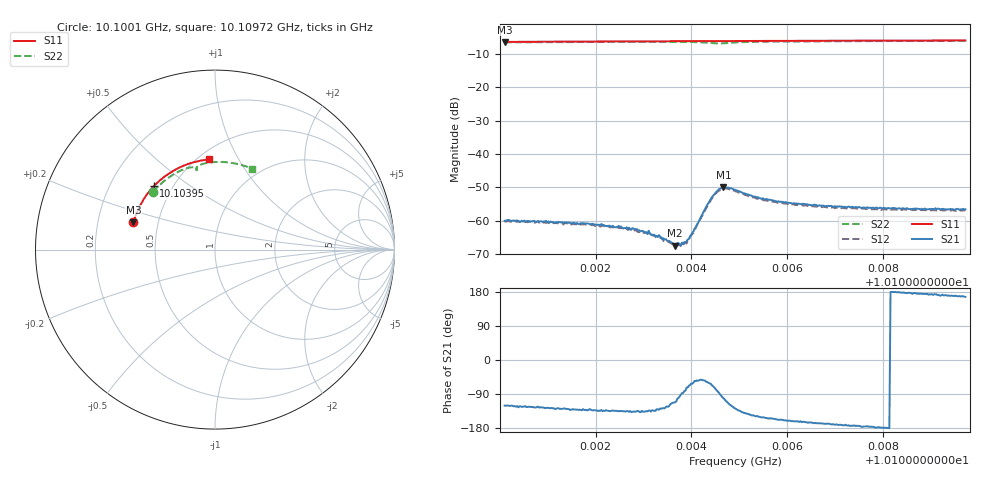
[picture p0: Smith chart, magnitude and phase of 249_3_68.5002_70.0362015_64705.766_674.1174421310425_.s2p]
#  HZ  S  RI  R  50.00
! Rohde & Schwarz Vector Network Analyzer
! Rohde-Schwarz,ZNB20-2Port,1311601062101988,3.16
! Created: UTC 3/20/2024, 4:59:47 PM
! freq[Hz]  re:S11  im:S11  re:S21  im:S21  re:S12  im:S12  re:S22  im:S22
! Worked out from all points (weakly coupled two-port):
!   401 points, 10.1001 GHz to 10.10972 GHz, reference 50 ohm
!   highest |S21| = -50.04 dB at 10.10467 GHz (marker M1); lowest = -67.5 dB at 10.10366 GHz (marker M2)
!   lowest |S11| = -6.4 dB at 10.1001 GHz (marker M3), VSWR 2.84, Z = 18 + j7.09 ohm
!   |S11| at or under -10 dB: nowhere
!   |S22| runs from -6.9 to -6.1 dB; largest |S21 - S12| = 0.00031
!   S11 on the Smith chart (normalised r, x): 10.1001 GHz: 0.36, +0.14; 10.10395 GHz: 0.39, +0.37; 10.10972 GHz: 0.57, +0.76
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1.0100098e10  -0.4542 0.1515  -0.000503 -0.000855  -0.000417 -0.000871  -0.3458 0.3206
1.010171e10  -0.4188 0.2428  -0.000616 -0.00067  -0.000535 -0.000698  -0.2702 0.3923
1.0102431e10  -0.397 0.2811  -0.000551 -0.000571  -0.000531 -0.0006  -0.2313 0.4188
1.0102816e10  -0.384 0.3005  -0.000539 -0.000517  -0.000474 -0.000529  -0.2092 0.4312
1.0103056e10  -0.3754 0.3123  -0.000472 -0.000475  -0.000418 -0.000506  -0.1946 0.4384
1.0103321e10  -0.3656 0.325  -0.000401 -0.000456  -0.000334 -0.000447  -0.1782 0.4456
1.0103658e10  -0.3524 0.3406  -0.000154 -0.00039  -8.6e-05 -0.000416  -0.1556 0.4537
1.0103802e10  -0.3465 0.3472  2.1e-05 -0.000467  5.17e-05 -0.00041  -0.1455 0.4562
1.010385e10  -0.3446 0.3493  6.64e-05 -0.000473  0.000104 -0.000436  -0.142 0.4571
1.0103946e10  -0.3405 0.3535  0.000202 -0.000492  0.000245 -0.000464  -0.1348 0.4582
1.0104091e10  -0.3345 0.3597  0.000447 -0.000663  0.000474 -0.000614  -0.1234 0.4587
1.0104307e10  -0.3251 0.3689  0.000867 -0.00136  0.000957 -0.00119  -0.1068 0.4542
1.0104427e10  -0.3197 0.3739  0.000879 -0.00207  0.000997 -0.0019  -0.1009 0.4481
1.0104548e10  -0.3145 0.3788  0.00036 -0.0028  0.000586 -0.00267  -0.1014 0.4427
1.0104668e10  -0.3091 0.3836  -0.000607 -0.00309  -0.000312 -0.00298  -0.105 0.4436
1.0104788e10  -0.3036 0.3884  -0.00139 -0.00277  -0.00108 -0.00275  -0.1056 0.4504
1.0104908e10  -0.2982 0.3932  -0.00177 -0.00229  -0.00152 -0.00233  -0.1015 0.4583
1.0105485e10  -0.2705 0.4146  -0.0019 -0.00104  -0.00171 -0.00113  -0.0639 0.4786
1.0105966e10  -0.2463 0.4307  -0.00177 -0.000672  -0.0016 -0.000818  -0.0312 0.4853
1.010652e10  -0.2173 0.4475  -0.00165 -0.000434  -0.00154 -0.00055  0.00546 0.4884
1.0108131e10  -0.1271 0.4842  -0.00152 -1.58e-06  -0.00144 -0.000165  0.1091 0.4804
1.0109718e10  -0.0329 0.5021  -0.00144 0.000344  -0.0014 0.000151  0.2059 0.4508
